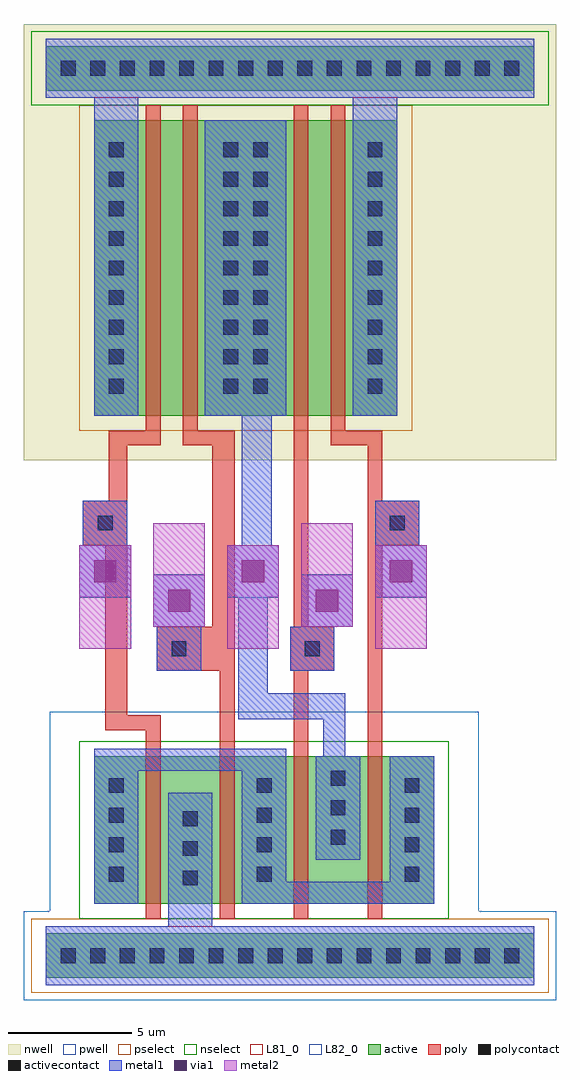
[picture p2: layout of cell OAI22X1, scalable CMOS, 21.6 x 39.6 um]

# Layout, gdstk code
import gdstk
lib = gdstk.Library(unit=1e-6, precision=1e-09)
def R(c, l, rs):  # rectangles x0, y0, x1, y1
    for r in rs: c.add(gdstk.rectangle(r[:2], r[2:], *l))
def A(c, l, x, y, w, h, nx, ny, dx, dy):  # array of equal rectangles
    R(c, l, [(x+i*dx, y+j*dy, x+i*dx+w, y+j*dy+h) for i in range(nx) for j in range(ny)])
pwell = (41, 0)
nwell = (42, 0)
active = (43, 0)
pselect = (44, 0)
nselect = (45, 0)
poly = (46, 0)
polycontact = (47, 0)
activecontact = (48, 0)
metal1 = (49, 0)
via1 = (50, 0)
metal2 = (51, 0)
L81_0 = (81, 0)
L82_0 = (82, 0)

oai22x1 = lib.new_cell('OAI22X1')
R(oai22x1, pwell, [(-1.8,-1.8,19.8,1.8), (-0.75,1.8,16.65,9.9)])
R(oai22x1, nwell, [(-1.8,20.1,19.8,37.8)])
R(oai22x1, active, [(-0.9,-0.9,18.9,0.9), (1.05,2.1,14.85,8.1), (1.05,21.9,13.35,33.9), (-0.9,35.1,18.9,36.9)])
R(oai22x1, pselect, [(-1.5,-1.5,19.5,1.5), (0.45,21.3,13.95,34.5)])
R(oai22x1, nselect, [(0.45,1.5,15.45,8.7), (-1.5,34.5,19.5,37.5)])
R(oai22x1, poly, [(3.15,1.5,3.75,9.15), (6.15,1.5,6.75,11.55), (9.15,1.5,9.75,11.55), (12.15,1.5,12.75,16.65), (1.5,9.15,3.75,9.75), (1.5,9.75,2.4,16.65), (3.6,11.55,6.75,13.35), (9,11.55,10.8,13.35), (5.85,13.35,6.75,20.7), (9.15,13.35,9.75,34.5), (0.6,16.65,2.4,18.45), (12.15,16.65,14.25,18.45), (1.65,18.45,2.4,20.7), (12.15,18.45,12.75,20.7), (1.65,20.7,3.75,21.3), (4.65,20.7,6.75,21.3), (10.65,20.7,12.75,21.3), (3.15,21.3,3.75,34.5), (4.65,21.3,5.25,34.5), (10.65,21.3,11.25,34.5)])
R(oai22x1, polycontact, [(4.2,12.15,4.8,12.75), (9.6,12.15,10.2,12.75), (1.2,17.25,1.8,17.85), (13.05,17.25,13.65,17.85)])
A(oai22x1, activecontact, -0.3, -0.3, 0.6, 0.6, 16, 2, 1.2, 36)
A(oai22x1, activecontact, 4.65, 2.85, 0.6, 0.6, 1, 3, 0, 1.2)
A(oai22x1, activecontact, 1.65, 3, 0.6, 0.6, 3, 4, 6, 1.2)
A(oai22x1, activecontact, 10.65, 4.5, 0.6, 0.6, 1, 3, 0, 1.2)
A(oai22x1, activecontact, 1.65, 22.8, 0.6, 0.6, 1, 9, 0, 1.2)
A(oai22x1, activecontact, 6.3, 22.8, 0.6, 0.6, 1, 9, 0, 1.2)
A(oai22x1, activecontact, 7.5, 22.8, 0.6, 0.6, 1, 9, 0, 1.2)
A(oai22x1, activecontact, 12.15, 22.8, 0.6, 0.6, 1, 9, 0, 1.2)
A(oai22x1, metal1, 0.45, 14.55, 2.1, 2.1, 3, 1, 6, 0)
R(oai22x1, metal1, [(-0.9,-1.2,18.9,1.2), (4.05,1.2,5.85,6.6), (1.05,2.1,2.85,7.5), (7.05,2.1,14.85,3), (7.05,3,8.85,7.5), (13.05,3,14.85,8.1), (10.05,3.9,11.85,8.1), (1.05,7.5,8.85,8.4), (10.35,8.1,11.25,9.6), (6.9,9.6,11.25,10.65), (6.9,10.65,8.1,14.55), (3.6,11.55,5.4,13.35), (9,11.55,10.8,13.35), (3.45,13.35,5.55,15.45), (9.45,13.35,11.55,15.45), (0.6,16.65,2.4,18.45), (7.05,16.65,8.25,21.9), (12.45,16.65,14.25,18.45), (1.05,21.9,2.85,34.8), (5.55,21.9,8.85,33.9), (11.55,21.9,13.35,34.8), (-0.9,34.8,18.9,37.2)])
A(oai22x1, via1, 1.05, 15.15, 0.9, 0.9, 3, 1, 6, 0)
R(oai22x1, via1, [(4.05,13.95,4.95,14.85), (10.05,13.95,10.95,14.85)])
A(oai22x1, metal2, 0.45, 12.45, 2.1, 4.2, 3, 1, 6, 0)
R(oai22x1, metal2, [(3.45,13.35,5.55,17.55), (9.45,13.35,11.55,17.55)])
R(oai22x1, L81_0, [(-0.9,-1.2,18.9,1.2), (-0.9,34.8,18.9,37.2)])
A(oai22x1, L82_0, 0.45, 12.45, 2.1, 2.1, 3, 1, 6, 0)
R(oai22x1, L82_0, [(3.45,15.45,5.55,17.55), (9.45,15.45,11.55,17.55)])

lib.write_gds('OAI22X1.gds')
